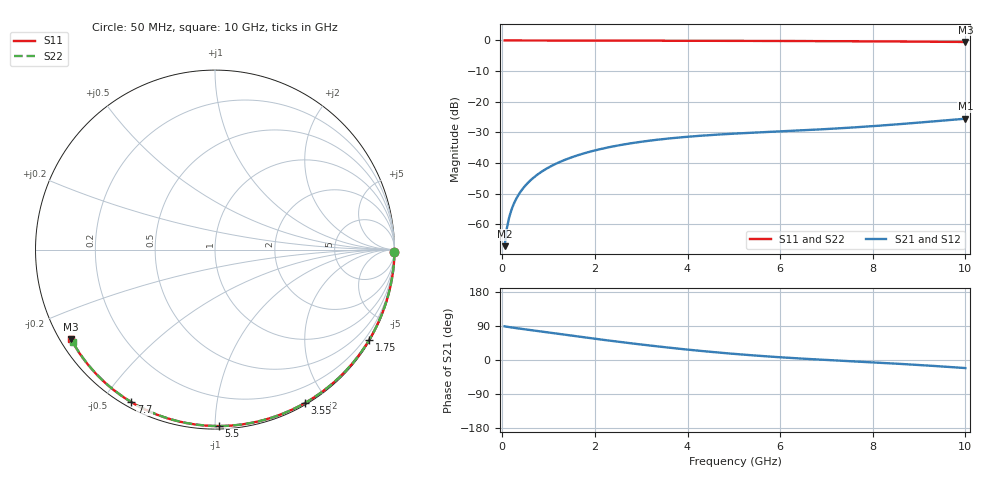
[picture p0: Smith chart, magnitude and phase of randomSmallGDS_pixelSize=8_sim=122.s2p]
! freq	dB(S11)	phase(S11)	dB(S12)	phase(S12)
!  dB(S21)	phase(S21)	dB(S22)	phase(S22)
!S-par simulation data
#  GHz  S  DB  R 50
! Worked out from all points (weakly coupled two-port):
!   200 points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, 50 MHz to 10 GHz, reference 50 ohm
!   highest |S21| = -25.51 dB at 10 GHz (marker M1); lowest = -67.1 dB at 50 MHz (marker M2)
!   lowest |S11| = -0.5 dB at 10 GHz (marker M3), VSWR 35.31, Z = 1.53 - j14.2 ohm
!   |S11| at or under -10 dB: nowhere
!   |S22| runs from -0.5 to 0.0 dB; largest |S21 - S12| = 0
!   S11 on the Smith chart (normalised r, x): 50 MHz: open; 1.75 GHz: 0.03, -3.70; 3.55 GHz: 0.02, -1.75; 5.5 GHz: 0.02, -1.02; 7.7 GHz: 0.02, -0.59; 10 GHz: 0.03, -0.28
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0.05  -0.00 -0.9  -67.07 88.8  -67.07 88.8  -0.00 -0.9
0.1  -0.00 -1.8  -61.08 87.7  -61.08 87.7  -0.00 -1.7
0.15  -0.00 -2.6  -57.59 86.7  -57.59 86.7  -0.00 -2.6
0.2  -0.00 -3.5  -55.12 85.8  -55.12 85.8  -0.00 -3.5
0.25  -0.00 -4.4  -53.21 84.9  -53.21 84.9  -0.00 -4.4
0.35  -0.00 -6.2  -50.34 83.3  -50.34 83.3  -0.00 -6.1
0.5  -0.01 -8.8  -47.29 80.8  -47.29 80.8  -0.01 -8.7
0.7  -0.01 -12.2  -44.42 77.5  -44.42 77.5  -0.01 -12.1
1  -0.02 -17.4  -41.41 72.5  -41.41 72.5  -0.02 -17.3
1.35  -0.03 -23.4  -38.94 66.6  -38.94 66.6  -0.03 -23.2
1.75  -0.04 -30.2  -36.87 60.1  -36.87 60.1  -0.04 -29.9
2.5  -0.06 -42.7  -34.24 48.3  -34.24 48.3  -0.06 -42.3
3.4  -0.08 -57.2  -32.28 35.3  -32.28 35.3  -0.08 -56.7
3.55  -0.08 -59.6  -32.03 33.2  -32.03 33.2  -0.08 -59.0
4.3  -0.10 -71.2  -31.05 23.8  -31.05 23.8  -0.10 -70.5
5.05  -0.13 -82.3  -30.35 15.7  -30.35 15.7  -0.13 -81.5
5.5  -0.15 -88.8  -30.00 11.4  -30.00 11.4  -0.14 -87.9
6.7  -0.20 -105.4  -29.13 2.1  -29.13 2.1  -0.20 -104.5
7.7  -0.27 -118.7  -28.25 -4.4  -28.25 -4.4  -0.27 -117.6
8.35  -0.32 -127.1  -27.55 -8.6  -27.55 -8.6  -0.32 -126.0
9.2  -0.40 -138.0  -26.53 -14.7  -26.53 -14.7  -0.40 -136.8
10  -0.49 -148.3  -25.51 -21.3  -25.51 -21.3  -0.49 -146.9
